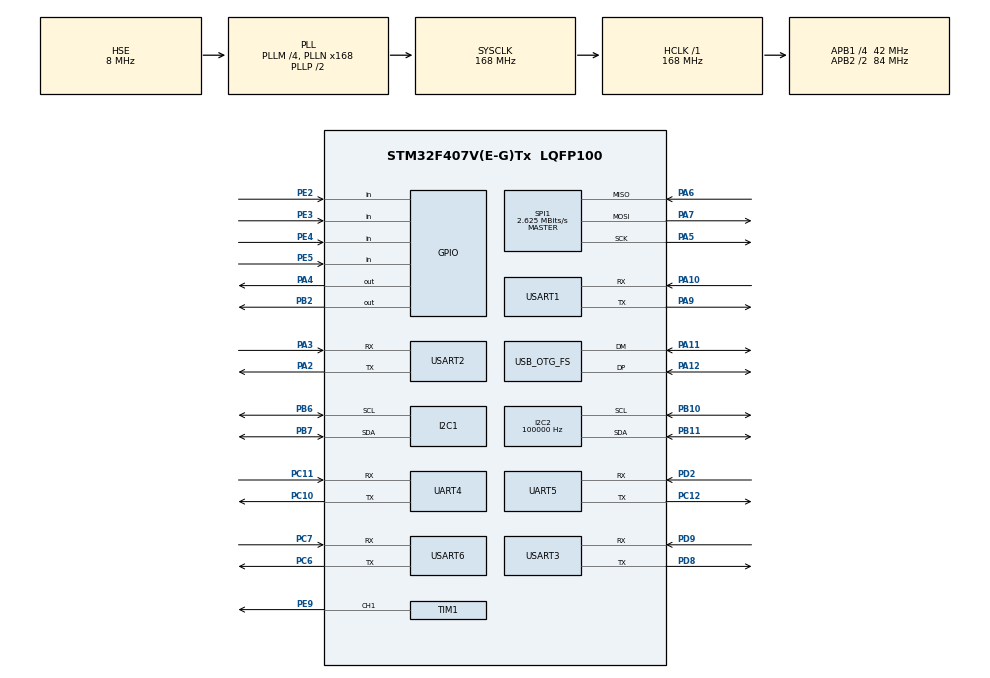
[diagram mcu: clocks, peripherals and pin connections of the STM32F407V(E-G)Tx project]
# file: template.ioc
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Dma.Request0=UART5_RX
Dma.Request1=UART5_TX
Dma.Request2=USART3_TX
Dma.Request3=USART1_RX
Dma.Request4=USART1_TX
Dma.UART5_RX.0.Direction=DMA_PERIPH_TO_MEMORY
Dma.UART5_RX.0.FIFOMode=DMA_FIFOMODE_DISABLE
Dma.UART5_RX.0.Instance=DMA1_Stream0
Dma.UART5_RX.0.MemDataAlignment=DMA_MDATAALIGN_BYTE
Dma.UART5_RX.0.MemInc=DMA_MINC_ENABLE
Dma.UART5_RX.0.Mode=DMA_CIRCULAR
Dma.UART5_RX.0.PeriphDataAlignment=DMA_PDATAALIGN_BYTE
Dma.UART5_RX.0.PeriphInc=DMA_PINC_DISABLE
Dma.UART5_RX.0.Priority=DMA_PRIORITY_HIGH
Dma.UART5_TX.1.Direction=DMA_MEMORY_TO_PERIPH
Dma.UART5_TX.1.FIFOMode=DMA_FIFOMODE_DISABLE
Dma.UART5_TX.1.Instance=DMA1_Stream7
Dma.UART5_TX.1.MemDataAlignment=DMA_MDATAALIGN_BYTE
Dma.UART5_TX.1.MemInc=DMA_MINC_ENABLE
Dma.UART5_TX.1.Mode=DMA_NORMAL
Dma.UART5_TX.1.PeriphDataAlignment=DMA_PDATAALIGN_BYTE
Dma.UART5_TX.1.PeriphInc=DMA_PINC_DISABLE
Dma.UART5_TX.1.Priority=DMA_PRIORITY_MEDIUM
Dma.USART1_RX.3.Direction=DMA_PERIPH_TO_MEMORY
Dma.USART1_RX.3.FIFOMode=DMA_FIFOMODE_DISABLE
Dma.USART1_RX.3.Instance=DMA2_Stream2
Dma.USART1_RX.3.MemDataAlignment=DMA_MDATAALIGN_BYTE
Dma.USART1_RX.3.MemInc=DMA_MINC_ENABLE
Dma.USART1_RX.3.Mode=DMA_CIRCULAR
Dma.USART1_RX.3.PeriphDataAlignment=DMA_PDATAALIGN_BYTE
Dma.USART1_RX.3.PeriphInc=DMA_PINC_DISABLE
Dma.USART1_RX.3.Priority=DMA_PRIORITY_HIGH
Dma.USART1_TX.4.Direction=DMA_MEMORY_TO_PERIPH
Dma.USART1_TX.4.FIFOMode=DMA_FIFOMODE_DISABLE
Dma.USART1_TX.4.Instance=DMA2_Stream7
Dma.USART1_TX.4.MemDataAlignment=DMA_MDATAALIGN_BYTE
Dma.USART1_TX.4.MemInc=DMA_MINC_ENABLE
Dma.USART1_TX.4.Mode=DMA_NORMAL
Dma.USART1_TX.4.PeriphDataAlignment=DMA_PDATAALIGN_BYTE
Dma.USART1_TX.4.PeriphInc=DMA_PINC_DISABLE
Dma.USART1_TX.4.Priority=DMA_PRIORITY_LOW
Dma.USART3_TX.2.Direction=DMA_MEMORY_TO_PERIPH
Dma.USART3_TX.2.FIFOMode=DMA_FIFOMODE_DISABLE
Dma.USART3_TX.2.Instance=DMA1_Stream3
Dma.USART3_TX.2.MemDataAlignment=DMA_MDATAALIGN_BYTE
Dma.USART3_TX.2.MemInc=DMA_MINC_ENABLE
Dma.USART3_TX.2.Mode=DMA_NORMAL
Dma.USART3_TX.2.PeriphDataAlignment=DMA_PDATAALIGN_BYTE
Dma.USART3_TX.2.PeriphInc=DMA_PINC_DISABLE
Dma.USART3_TX.2.Priority=DMA_PRIORITY_LOW
I2C2.AddressingMode=I2C_ADDRESSINGMODE_7BIT
I2C2.ClockSpeed=100000
I2C2.DualAddressMode=I2C_DUALADDRESS_DISABLE
I2C2.GeneralCallMode=I2C_GENERALCALL_DISABLE
I2C2.NoStretchMode=I2C_NOSTRETCH_DISABLE
I2C2.OwnAddress1=0
Mcu.Family=STM32F4
Mcu.Name=STM32F407V(E-G)Tx
Mcu.Package=LQFP100
NVIC.DMA1_Stream0_IRQn=true\:1\:0\:true\:false\:true\:false\:true\:true
NVIC.DMA1_Stream3_IRQn=true\:5\:0\:true\:false\:true\:false\:true\:true
NVIC.DMA1_Stream7_IRQn=true\:1\:0\:true\:false\:true\:false\:true\:true
NVIC.DMA2_Stream2_IRQn=true\:2\:0\:true\:false\:true\:false\:true\:true
NVIC.DMA2_Stream7_IRQn=true\:2\:0\:true\:false\:true\:false\:true\:true
NVIC.OTG_FS_IRQn=true\:4\:0\:true\:false\:true\:false\:true\:true
NVIC.PriorityGroup=NVIC_PRIORITYGROUP_4
NVIC.UART4_IRQn=true\:3\:0\:true\:false\:true\:true\:true\:true
NVIC.UART5_IRQn=true\:1\:0\:true\:false\:true\:true\:true\:true
NVIC.USART1_IRQn=true\:2\:0\:false\:false\:true\:true\:true\:true
NVIC.USART3_IRQn=true\:5\:0\:true\:false\:true\:true\:true\:true
PA10.Mode=Asynchronous
PA10.Signal=USART1_RX
PA11.Mode=Device_Only
PA11.Signal=USB_OTG_FS_DM
PA12.Mode=Device_Only
PA12.Signal=USB_OTG_FS_DP
PA13.Mode=Serial_Wire
PA13.Signal=SYS_JTMS-SWDIO
PA14.Mode=Serial_Wire
PA14.Signal=SYS_JTCK-SWCLK
PA2.Mode=Asynchronous
PA2.Signal=USART2_TX
PA3.Mode=Asynchronous
PA3.Signal=USART2_RX
PA4.PinState=GPIO_PIN_SET
PA4.Signal=GPIO_Output
PA5.Mode=Full_Duplex_Master
PA5.Signal=SPI1_SCK
PA6.Mode=Full_Duplex_Master
PA6.Signal=SPI1_MISO
PA7.Mode=Full_Duplex_Master
PA7.Signal=SPI1_MOSI
PA9.Mode=Asynchronous
PA9.Signal=USART1_TX
PB10.GPIO_Pu=GPIO_PULLUP
PB10.Mode=I2C
PB10.Signal=I2C2_SCL
PB11.GPIO_Pu=GPIO_PULLUP
PB11.Mode=I2C
PB11.Signal=I2C2_SDA
PB2.GPIO_PuPd=GPIO_PULLDOWN
PB2.PinState=GPIO_PIN_SET
PB2.Signal=GPIO_Output
PB6.Mode=I2C
PB6.Signal=I2C1_SCL
PB7.Mode=I2C
PB7.Signal=I2C1_SDA
PB8.Signal=CAN1_RX
PB9.Signal=CAN1_TX
PC10.Mode=Asynchronous
PC10.Signal=UART4_TX
PC11.Mode=Asynchronous
PC11.Signal=UART4_RX
PC12.Mode=Asynchronous
PC12.Signal=UART5_TX
PC6.Mode=Asynchronous
PC6.Signal=USART6_TX
PC7.Mode=Asynchronous
PC7.Signal=USART6_RX
PD2.Mode=Asynchronous
PD2.Signal=UART5_RX
PD8.Mode=Asynchronous
PD8.Signal=USART3_TX
PD9.Mode=Asynchronous
PD9.Signal=USART3_RX
PE2.Signal=GPIO_Input
PE3.Signal=GPIO_Input
PE4.Signal=GPIO_Input
PE5.Signal=GPIO_Input
PE9.Signal=S_TIM1_CH1
PH0-OSC_IN.Mode=HSE-External-Oscillator
PH0-OSC_IN.Signal=RCC_OSC_IN
PH1-OSC_OUT.Mode=HSE-External-Oscillator
PH1-OSC_OUT.Signal=RCC_OSC_OUT
ProjectManager.HeapSize=0x200
ProjectManager.StackSize=0x1000
ProjectManager.TargetToolchain=MDK-ARM V5.32
RCC.48MHZClocksFreq_Value=48000000
RCC.AHBFreq_Value=168000000
RCC.APB1CLKDivider=RCC_HCLK_DIV4
RCC.APB1Freq_Value=42000000
RCC.APB1TimFreq_Value=84000000
RCC.APB2CLKDivider=RCC_HCLK_DIV2
RCC.APB2Freq_Value=84000000
RCC.APB2TimFreq_Value=168000000
RCC.CortexFreq_Value=168000000
RCC.HCLKFreq_Value=168000000
RCC.HSE_VALUE=8000000
RCC.HSI_VALUE=16000000
RCC.LSE_VALUE=32768
RCC.PLLM=4
RCC.PLLN=168
RCC.PLLQ=7
RCC.SYSCLKFreq_VALUE=168000000
RCC.SYSCLKSource=RCC_SYSCLKSOURCE_PLLCLK
RCC.VCOOutputFreq_Value=336000000
SH.S_TIM1_CH1.0=TIM1_CH1,PWM Generation1 CH1
SPI1.BaudRatePrescaler=SPI_BAUDRATEPRESCALER_32
SPI1.CLKPhase=SPI_PHASE_2EDGE
SPI1.CLKPolarity=SPI_POLARITY_HIGH
SPI1.CalculateBaudRate=2.625 MBits/s
SPI1.Direction=SPI_DIRECTION_2LINES
SPI1.Mode=SPI_MODE_MASTER
SPI1.VirtualType=VM_MASTER
TIM1.Channel-PWM\ Generation1\ CH1=TIM_CHANNEL_1
TIM1.Period=19999
TIM1.Prescaler=167
UART4.VirtualMode=Asynchronous
UART5.VirtualMode=Asynchronous
USART1.VirtualMode=VM_ASYNC
USART2.VirtualMode=VM_ASYNC
USART3.VirtualMode=VM_ASYNC
USART6.VirtualMode=VM_ASYNC
USB_DEVICE.CLASS_NAME_FS=CDC
USB_DEVICE.VirtualMode-CDC_FS=Cdc
USB_DEVICE.VirtualModeFS=Cdc_FS
USB_OTG_FS.VirtualMode=Device_Only
USB_OTG_FS.vbus_sensing_enable=DISABLE
VP_USB_DEVICE_VS_USB_DEVICE_CDC_FS.Mode=CDC_FS
board=custom

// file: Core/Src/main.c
/* USER CODE BEGIN Header */
/**
  ******************************************************************************
  * @file           : main.c
  * @brief          : Main program body
  *
  * @par 二维码模块、Orange Pi和OLED接线
  * - OLED SCL  -> PB6（I2C1_SCL，100 kHz）
  * - OLED SDA  -> PB7（I2C1_SDA，设备7位地址默认0x3C）
  * - STM32 PC10（UART4_TX）连接二维码模块RX
  * - STM32 PC11（UART4_RX）连接二维码模块TX
  * - STM32 PA11/PA12：原生USB CDC连接香橙派
  * - HWT101 SCL/SDA：PB10/PB11，I2C2；串口屏：PD8/PD9
  * - OLED、串口模块和STM32必须共地，串口信号电平必须为3.3 V
  ******************************************************************************
  * @attention
  *
  * Copyright (c) 2026 STMicroelectronics.
  * All rights reserved.
  *
  * This software is licensed under terms that can be found in the LICENSE file
  * in the root directory of this software component.
  * If no LICENSE file comes with this software, it is provided AS-IS.
  *
  ******************************************************************************
  */
/* USER CODE END Header */
#include "main.h"
#include "dma.h"
#include "i2c.h"
#include "spi.h"
#include "tim.h"
#include "usart.h"
#include "usb_device.h"
#include "gpio.h"

/* USER CODE BEGIN Includes */

#include "Camera.h"
#include "QR.h"
#include "ArmVision.h"
#include "MaterialVision.h"
#include "Steer.h"
#include "arm_console.h"
#include "contest_screen.h"
#include "hwt101_i2c.h"
#include "hwt101_calibration.h"
#include "key.h"
#include "mechanical_arm.h"
#include "mecanum_chassis.h"
#include "oled_ui.h"
#include "tjc_screen.h"
#include "usbd_cdc_if.h"
#include "w25q128.h"
#include "motor_bus.h"
#include "console_tx.h"
#include "console_rx.h"
#include "chassis_motion.h"
#include "chassis_localization.h"
#include "chassis_route.h"
#include "chassis_telemetry.h"

#include <stdio.h>
#include <string.h>

/* USER CODE END Includes */

/* USER CODE BEGIN PD */
#define HWT101_UPLOAD_INTERVAL_MS 200U
#define CONSOLE_UPLOAD_TIMEOUT_MS 100U

/* USER CODE END PD */

/* USER CODE BEGIN PV */

static uint8_t QR_RxByte;

static char QR_TaskCode[QR_TASK_CODE_BUFFER_SIZE];
static uint8_t Camera_ColorTaskReady;
static uint8_t Camera_ColorDigitIndex;
static HWT101_Angle_t HWT101_CurrentAngle;
static uint8_t HWT101_AngleValid;
static uint32_t HWT101_UploadLastTick;
static uint32_t HWT101_ProgressLastTick;
static uint32_t HWT101_UploadRunId, HWT101_UploadFinalRunId;
static HWT101_CalState_t HWT101_UploadFinalState;

/* USER CODE END PV */

void SystemClock_Config(void);

/* USER CODE BEGIN 0 */

/** 启动时先读三次 JEDEC ID，再读三次设备 ID，失败也继续启动。 */
static void W25Q128_StartupCheck(void)
{
  uint8_t Id[3] = {0};
  uint8_t Index;
  uint8_t Command;
  uint8_t Try;
  uint8_t Invalid;
  char Text[96];
  const char *StatusText;
  const char *Prefix;
  int32_t Length;
  HAL_StatusTypeDef Status;

  for (Index = 0U; Index < 6U; Index++)
  {
    /* 首次读取保持原来的启动条件，仅在相邻交易之间等待。 */
    if (Index > 0U)
    {
      HAL_Delay(10U);
    }
    Try = (uint8_t)(Index % 3U + 1U);
    Prefix = (Index == 0U) ? "\r\n" : "";
    if (Index < 3U)
    {
      Command = 0x9FU;
      Status = W25Q128_ReadJedecId(&hspi1, Id);
    }
    else
    {
      Command = 0x90U;
      Status = W25Q128_ReadDeviceId(&hspi1, Id);
    }

    if (Status != HAL_OK)
    {
      switch (Status)
      {
        case HAL_ERROR: StatusText = "ERROR"; break;
        case HAL_BUSY: StatusText = "BUSY"; break;
        case HAL_TIMEOUT: StatusText = "TIMEOUT"; break;
        default: StatusText = "UNKNOWN"; break;
      }
      /* 失败时不打印保留在 Id 中的上次结果。 */
      Length = snprintf(Text, sizeof(Text), "%s[FLASH] cmd=%02X try=%u HAL=%s\r\n",
                        Prefix, (unsigned)Command, (unsigned)Try, StatusText);
    }
    else
    {
      Invalid = ((Id[0] == 0U) && (Id[1] == 0U) &&
                 ((Command == 0x90U) || (Id[2] == 0U))) ||
                ((Id[0] == 0xFFU) && (Id[1] == 0xFFU) &&
                 ((Command == 0x90U) || (Id[2] == 0xFFU)));
      if (Command == 0x9FU)
      {
        Length = snprintf(Text, sizeof(Text),
                          "%s[FLASH] cmd=9F try=%u HAL=OK ID=%02X %02X %02X%s\r\n",
                          Prefix, (unsigned)Try, (unsigned)Id[0], (unsigned)Id[1],
                          (unsigned)Id[2], Invalid ? " INVALID" : "");
      }
      else
      {
        Length = snprintf(Text, sizeof(Text),
                          "%s[FLASH] cmd=90 try=%u HAL=OK ID=%02X %02X%s\r\n",
                          Prefix, (unsigned)Try, (unsigned)Id[0], (unsigned)Id[1],
                          Invalid ? " INVALID" : "");
      }
    }

    if ((Length > 0) && (Length < (int32_t)sizeof(Text)))
    {
      (void)ConsoleTx_Write((uint8_t *)Text, (uint16_t)Length);
    }
  }

  (void)ConsoleTx_Write((uint8_t *)"arm> ", 5U);
}

/**
  * 函    数：读取任务码第二组中当前选择的数字字符
  * 参    数：无
  * 返 回 值：第二组任务码中当前选中的数字字符
  * 说    明：第二组起始下标为4，选择索引范围为0至2
  */
static char Camera_ColorTaskDigitGet(void)
{
  return QR_TaskCode[4U + Camera_ColorDigitIndex];
}

/**
  * 函    数：将任务码ASCII数字转换为摄像头颜色编号
  * 参    数：TaskCodeDigit 任务码中的数字字符
  * 返 回 值：对应的颜色枚举；0表示字符不在1~6
  * 说    明：先将ASCII字符转换为颜色编号1~6
  */
static Camera_ColorTypeDef Camera_ColorCodeGet(char TaskCodeDigit)
{
  uint8_t ColorNumber;

  if ((TaskCodeDigit < '1') || (TaskCodeDigit > '6'))
  {
    return (Camera_ColorTypeDef)0;
  }

  ColorNumber = (uint8_t)(TaskCodeDigit - '0');
  return (Camera_ColorTypeDef)ColorNumber;
}

/* IMU_TIMING_BEGIN: 主循环分段计时；仅保存数值，失败前不发送日志。 */
typedef enum
{
  IMU_TIME_CAMERA, IMU_TIME_MOTOR, IMU_TIME_ARM_VISION, IMU_TIME_MATERIAL,
  IMU_TIME_CHASSIS, IMU_TIME_READ, IMU_TIME_CAL, IMU_TIME_LOG,
  IMU_TIME_CONSOLE, IMU_TIME_SCREEN, IMU_TIME_QR_KEYS, IMU_TIME_OLED,
  IMU_TIME_COUNT
} ImuTimingStage_t;

static struct
{
  uint32_t current[IMU_TIME_COUNT], previous[IMU_TIME_COUNT], maximum[IMU_TIME_COUNT];
  uint32_t start_tick, mark_tick, previous_loop_ms, max_loop_ms;
  uint32_t failure_partial_ms;
  uint8_t active, frozen;
} ImuTiming;
static uint32_t ImuTiming_LastRunId;

static void ImuTiming_Begin(void)
{
  HWT101_CalStatus_t Cal;
  if (!HWT101_Cal_GetStatus(&Cal)) return;
  if (Cal.run_id != ImuTiming_LastRunId)
    memset(&ImuTiming, 0, sizeof(ImuTiming));
  ImuTiming_LastRunId = Cal.run_id;
  ImuTiming.active = !ImuTiming.frozen && (Cal.busy || Cal.control_ready);
  if (!ImuTiming.active) return;
  memset(ImuTiming.current, 0, sizeof(ImuTiming.current));
  ImuTiming.start_tick = ImuTiming.mark_tick = HAL_GetTick();
}

static void ImuTiming_Mark(ImuTimingStage_t Stage)
{
  uint32_t Now, Elapsed;
  if (!ImuTiming.active) return;
  Now = HAL_GetTick();
  Elapsed = (uint32_t)(Now - ImuTiming.mark_tick);
  ImuTiming.current[Stage] = Elapsed;
  if (Elapsed > ImuTiming.maximum[Stage]) ImuTiming.maximum[Stage] = Elapsed;
  ImuTiming.mark_tick = Now;
}

static void ImuTiming_End(void)
{
  if (!ImuTiming.active) return;
  ImuTiming.previous_loop_ms = (uint32_t)(HAL_GetTick() - ImuTiming.start_tick);
  if (ImuTiming.previous_loop_ms > ImuTiming.max_loop_ms)
    ImuTiming.max_loop_ms = ImuTiming.previous_loop_ms;
  memcpy(ImuTiming.previous, ImuTiming.current, sizeof(ImuTiming.previous));
}

static void ImuTiming_Freeze(void)
{
  if (!ImuTiming.frozen)
    ImuTiming.failure_partial_ms = ImuTiming.active ? (uint32_t)(HAL_GetTick() - ImuTiming.start_tick) : 0U;
  ImuTiming.active = 0U;
  ImuTiming.frozen = 1U;
}

static void ImuTiming_Report(const HWT101_CalStatus_t *Cal)
{
  static const char *const Names[IMU_TIME_COUNT] = {
    "camera", "motor_events", "arm_vision", "material", "chassis", "imu_read",
    "imu_cal", "imu_log", "console", "screen", "qr_keys", "oled"
  };
  char Text[192];
  int Length;
  unsigned Stage;
  /* 先冻结，故障日志与异步恢复不覆盖首次失败现场。 */
  ImuTiming_Freeze();
  Length = snprintf(Text, sizeof(Text),
      "\r\n[IMU DIAG] gap_ms=%lu max_gap_ms=%lu limit_ms=%lu "
      "loop_prev_ms=%lu loop_max_ms=%lu loop_partial_ms=%lu\r\n",
      (unsigned long)Cal->gap_ms, (unsigned long)Cal->max_gap_ms,
      (unsigned long)HWT101_DATA_FRESH_MS, (unsigned long)ImuTiming.previous_loop_ms,
      (unsigned long)ImuTiming.max_loop_ms, (unsigned long)ImuTiming.failure_partial_ms);
  if ((Length > 0) && (Length < (int)sizeof(Text)))
    (void)ConsoleTx_Write((uint8_t *)Text, (uint16_t)Length);
  for (Stage = 0U; Stage < IMU_TIME_COUNT; Stage++)
  {
    Length = snprintf(Text, sizeof(Text),
        "[IMU TIME] stage=%s prev_ms=%lu current_ms=%lu max_ms=%lu\r\n", Names[Stage],
        (unsigned long)ImuTiming.previous[Stage], (unsigned long)ImuTiming.current[Stage],
        (unsigned long)ImuTiming.maximum[Stage]);
    if ((Length > 0) && (Length < (int)sizeof(Text)))
      (void)ConsoleTx_Write((uint8_t *)Text, (uint16_t)Length);
  }
}
/* IMU_TIMING_END */

/**
  * 函    数：通过USART1上传HWT101最新角度
  * 参    数：无
  * 返 回 值：无
  * 说    明：默认只报告标定进度和结果；stream开启时每200ms更新最新角度槽，发送层每路至少间隔500ms。
  */
static void HWT101_Upload_Process(void)
{
  char UploadText[320];
  int UploadLength;
  uint32_t CurrentTick = HAL_GetTick();
  uint8_t Fresh;
  HWT101_Status_t Comm = {0};
  HWT101_CalStatus_t Cal;
  bool Terminal;

  if (!HWT101_Cal_GetStatus(&Cal)) return;
  (void)HWT101_Status_Get(&Comm);
  if (Cal.run_id != HWT101_UploadRunId)
  {
    HWT101_UploadRunId = Cal.run_id;
    HWT101_ProgressLastTick = CurrentTick;
  }
  if (Cal.state == HWT101_CAL_RESTORING && strcmp(Cal.reason, "none") && strcmp(Cal.reason, "cancelled"))
    ImuTiming_Freeze();
  Terminal = !Cal.busy && ((Cal.state == HWT101_CAL_DONE) ||
             (Cal.state == HWT101_CAL_FAILED) || (Cal.state == HWT101_CAL_CANCELLED));
  if (Terminal &&
      ((Cal.run_id != HWT101_UploadFinalRunId) || (Cal.state != HWT101_UploadFinalState)))
  {
    HWT101_UploadFinalRunId = Cal.run_id;
    HWT101_UploadFinalState = Cal.state;
    if (!strcmp(Cal.result, "ZERO_SAMPLE"))
    {
      UploadLength = snprintf(UploadText, sizeof(UploadText),
          "\r\nOK imu zero sample before_deg=%.3f after_deg=%.3f verified=0 control_ready=0\r\narm> ",
          (double)Cal.zero_before_deg, (double)Cal.zero_after_deg);
      if ((UploadLength > 0) && (UploadLength < (int)sizeof(UploadText)))
        (void)ConsoleTx_Write((uint8_t *)UploadText, (uint16_t)UploadLength);
      return;
    }
    if (Cal.state == HWT101_CAL_FAILED) ImuTiming_Report(&Cal);
    UploadLength = snprintf(UploadText, sizeof(UploadText),
        "\r\n[IMU CAL] result=%s state=%s reason=%s HAL=%u run_id=%lu verified=%u control_ready=%u\r\n",
        Cal.result, Cal.state_name, Cal.reason, (unsigned)Cal.hal,
        (unsigned long)Cal.run_id, (unsigned)Cal.verified, (unsigned)Cal.control_ready);
    if ((UploadLength > 0) && (UploadLength < (int)sizeof(UploadText)))
      (void)ConsoleTx_Write((uint8_t *)UploadText, (uint16_t)UploadLength);
    UploadLength = snprintf(UploadText, sizeof(UploadText),
        "[IMU SAVE] save_state=%s save_requested=%u save_readback_ok=%u persistent=UNTESTED "
        "normal_mode=%u bias_before=0x%04X bias_after=0x%04X bias_after_valid=%u\r\n",
        Cal.save_state, (unsigned)Cal.save_requested, (unsigned)Cal.save_readback_ok,
        (unsigned)Cal.normal_mode_confirmed, (unsigned)Cal.bias_before,
        (unsigned)Cal.bias_after, (unsigned)Cal.bias_after_valid);
    if ((UploadLength > 0) && (UploadLength < (int)sizeof(UploadText)))
      (void)ConsoleTx_Write((uint8_t *)UploadText, (uint16_t)UploadLength);
    UploadLength = snprintf(UploadText, sizeof(UploadText),
        "[IMU VERIFY] samples=%lu drift_dps=%.5f rms_deg=%.4f gap_ms=%lu max_gap_ms=%lu "
        "i2c_errors=%lu elapsed_ms=%lu relative_deg=%.3f verify_elapsed_ms=%lu\r\narm> ",
        (unsigned long)Cal.samples, (double)Cal.drift_dps, (double)Cal.rms_deg,
        (unsigned long)Cal.gap_ms, (unsigned long)Cal.max_gap_ms,
        (unsigned long)Cal.i2c_errors, (unsigned long)Cal.elapsed_ms,
        (double)Cal.relative_deg, (unsigned long)Cal.verify_elapsed_ms);
    if ((UploadLength > 0) && (UploadLength < (int)sizeof(UploadText)))
      (void)ConsoleTx_Write((uint8_t *)UploadText, (uint16_t)UploadLength);
  }
  if (Cal.busy && ((uint32_t)(CurrentTick - HWT101_ProgressLastTick) >= 5000U))
  {
    HWT101_ProgressLastTick = CurrentTick;
    UploadLength = snprintf(UploadText, sizeof(UploadText),
        "\r\n[IMU CAL] state=%s elapsed_s=%lu total_s=%lu verify_elapsed_s=%lu keep_still=1\r\n",
        Cal.state_name, (unsigned long)(Cal.elapsed_ms / 1000U), (unsigned long)(Cal.total_ms / 1000U),
        (unsigned long)(Cal.verify_elapsed_ms / 1000U));
    if ((UploadLength > 0) && (UploadLength < (int)sizeof(UploadText)))
      (void)ConsoleTx_Write((uint8_t *)UploadText, (uint16_t)UploadLength);
  }
  /* Busy calibration suppresses telemetry; sampling continues independently. */
  if (Cal.busy || ArmConsole_ImuStreamEnabled() == 0U) return;
  if (HWT101_Angle_Get(&HWT101_CurrentAngle)) HWT101_AngleValid = 1U;
  if ((uint32_t)(CurrentTick - HWT101_UploadLastTick) < HWT101_UPLOAD_INTERVAL_MS) return;
  Fresh = (HWT101_AngleValid != 0U) &&
          HWT101_Angle_Is_Fresh(&HWT101_CurrentAngle, HWT101_DATA_FRESH_MS);
  if (HWT101_AngleValid == 0U)
    UploadLength = snprintf(UploadText, sizeof(UploadText),
        "HWT101 yaw_deg=NA t_ms=%lu fresh=0 cal_state=%s i2c_errors=%lu\r\n",
        (unsigned long)CurrentTick, Cal.state_name, (unsigned long)Comm.i2c_error_count);
  else
    UploadLength = snprintf(UploadText, sizeof(UploadText),
        "HWT101 yaw_deg=%.2f count=%lu t_ms=%lu age_ms=%lu fresh=%u cal_state=%s i2c_errors=%lu\r\n",
        (double)HWT101_CurrentAngle.yaw, (unsigned long)HWT101_CurrentAngle.update_count,
        (unsigned long)CurrentTick, (unsigned long)(CurrentTick - HWT101_CurrentAngle.last_update_ms),
        (unsigned)Fresh, Cal.state_name, (unsigned long)Comm.i2c_error_count);
  if ((UploadLength > 0) && (UploadLength < (int)sizeof(UploadText)))
  {
    (void)ConsoleTx_Debug(CONSOLE_DEBUG_IMU, UploadText, (uint16_t)UploadLength);
    HWT101_UploadLastTick = CurrentTick;
  }
}

/** 按当前选中颜色启动机械臂对准；拒绝原因交给显示模块保留。 */
static void ArmVision_ColorAlignStart(void)
{
  Camera_ColorTypeDef Color;
  Mecanum_HeadingTestStatus_t Heading;

  if (HWT101_Cal_IsBusy())
  {
    OledUi_NoticeSet("IMU busy");
    return;
  }
  Mecanum_HeadingTest_StatusGet(&Heading);
  if (Heading.active)
  {
    OledUi_NoticeSet("Heading test busy");
    return;
  }

  if (Camera_ColorTaskReady == 0U)
  {
    OledUi_NoticeSet("Code required");
    return;
  }
  if (ArmVision_IsBusy() || MaterialVision_IsBusy() || MechanicalArm_IsBusy())
  {
    OledUi_NoticeSet("Busy");
    return;
  }
  if (!ArmVision_IsReferenceValid())
  {
    OledUi_NoticeSet("Ref required");
    return;
  }
  if (!ArmVision_IsCalibrated())
  {
    OledUi_NoticeSet("Cal required");
    return;
  }
  Color = Camera_ColorCodeGet(Camera_ColorTaskDigitGet());
  switch (ArmVision_MaterialStart(Color, ARM_VISION_JOB_ALIGN_ONLY))
  {
    case ARM_VISION_RESULT_OK: OledUi_NoticeSet(NULL); break;
    case ARM_VISION_RESULT_BUSY: OledUi_NoticeSet("Busy"); break;
    case ARM_VISION_RESULT_NOT_READY: OledUi_NoticeSet("Ref/Cal required"); break;
    case ARM_VISION_RESULT_PARAM_ERROR: OledUi_NoticeSet("Color invalid"); break;
    default: OledUi_NoticeSet("Camera tx"); break;
  }
}

/* USER CODE END 0 */

int main(void)
{

  /* MCU Configuration--------------------------------------------------------*/

  /* Reset of all peripherals, Initializes the Flash interface and the Systick. */
  HAL_Init();

  /* Configure the system clock */
  SystemClock_Config();

  /* USER CODE BEGIN SysInit */
  (void)Camera_Init();

  /* USER CODE END SysInit */

  /* Initialize all configured peripherals */
  MX_GPIO_Init();
  MX_DMA_Init();
  MX_TIM1_Init();
  MX_UART4_Init();
  MX_USART1_UART_Init();
  MX_USART2_UART_Init();
  MX_USART3_UART_Init();
  MX_USART6_UART_Init();
  MX_UART5_Init();
  MX_I2C1_Init();
  MX_I2C2_Init();
  MX_USB_DEVICE_Init();
  MX_SPI1_Init();
  /* USER CODE BEGIN 2 */

  /* CS 仍为高电平时提前使能 SPI1，验证首次读取的使能时序。 */
  __HAL_SPI_ENABLE(&hspi1);

  /*
   * 优先启动USART1控制台。即使OLED或其他可选外设没有连接，
   * 上位机仍然能够看到启动信息并使用调试命令。
   */
  if (ArmConsole_Init(&huart1) != HAL_OK)
  {
    Error_Handler();
  }

  /* USART1循环DMA接收；HT/TC/IDLE均由HAL分发。 */
  if (ConsoleRx_Init(&huart1) != HAL_OK)
  {
    Error_Handler();
  }

  W25Q128_StartupCheck();

  /* OLED为可选显示设备，未连接时不阻止其他模块和控制台运行。 */
  OledUi_Init(&hi2c1);

  QR_Init();
  Key_Init();
  if (HAL_UART_Receive_IT(&huart4, &QR_RxByte, 1U) != HAL_OK)
  {
    Error_Handler();
  }

  /* PE9使用TIM1_CH1输出50Hz PWM；CCR为0时夹爪上电不会立即动作。 */
  if (Steer_Init(&htim1) != HAL_OK)
  {
    Error_Handler();
  }
  ArmVision_Init();
  MaterialVision_Init();

  /* HWT101使用I2C2；设备仍在启动时，由轮询稍后重新探测。 */
  (void)HWT101_Init(&hi2c2);
  HWT101_Cal_Init();
  HWT101_UploadRunId = HWT101_UploadFinalRunId = 0U;
  HWT101_UploadFinalState = HWT101_CAL_IDLE;
  HWT101_CurrentAngle.yaw = 0.0f;
  HWT101_CurrentAngle.update_count = 0U;
  HWT101_AngleValid = 0U;
  HWT101_UploadLastTick = HAL_GetTick() - HWT101_UPLOAD_INTERVAL_MS;

  /* 机械臂电机总线使用UART5，模块初始化内部会启动ReceiveToIdle DMA接收。 */
  if (MotorBus_Init(&huart5) != HAL_OK) Error_Handler();
  ChassisRoute_Init();
  ChassisMotion_Init();
  ChassisTelemetry_Init();
  if (MechanicalArm_Init(&huart5) != HAL_OK)
  {
    Error_Handler();
  }

  /* 比赛串口屏使用USART3 TX DMA，PD8连接屏幕RX，PD9连接屏幕TX。 */
  if (TJC_Init(&huart3) != HAL_OK)
  {
    Error_Handler();
  }
  ContestScreen_Init();
  HWT101_Cal_BootVerifyArm();

  /* USER CODE END 2 */

  /* Infinite loop */
  /* USER CODE BEGIN WHILE */
  while (1)
  {
    MechanicalArm_EventTypeDef MotorEvent;
    KeyEvent_t Key;
    /* USER CODE END WHILE */

    /* USER CODE BEGIN 3 */
    ImuTiming_Begin();
    ConsoleRx_Process();
    ArmConsole_StopProcess(); /* Ctrl+C cancels producers before they can submit motion. */
    ConsoleTx_Process();
    if (ArmConsole_ResetPending())
    {
      ArmConsole_Process(); /* Consume a queued stop before committing reset. */
      if (ArmConsole_ResetProcess()) continue;
    }
    MotorBus_Process();
    Camera_Process();
    ImuTiming_Mark(IMU_TIME_CAMERA);
    MechanicalArm_Process();
    if (MechanicalArm_ResultGet(&MotorEvent) != 0U)
    {
      if ((ArmVision_MotorEventHandle(&MotorEvent) == 0U) &&
          (MaterialVision_MotorEventHandle(&MotorEvent) == 0U))
      {
        ArmConsole_MotorEventHandle(&MotorEvent);
      }
    }
    ImuTiming_Mark(IMU_TIME_MOTOR);
    ArmVision_Process();
    ImuTiming_Mark(IMU_TIME_ARM_VISION);
    MaterialVision_Process();
    ImuTiming_Mark(IMU_TIME_MATERIAL);
    HWT101_Process(); /* 独立采集；关闭日志不会停止传感器轮询。 */
    ImuTiming_Mark(IMU_TIME_READ);
    HWT101_Cal_BootVerifyProcess(!Mecanum_IsBusy() && !MechanicalArm_IsBusy() &&
        !ArmVision_IsBusy() && !MaterialVision_IsBusy() &&
        !ChassisRoute_IsBusy() && !ChassisMotion_IsBusy());
    HWT101_Cal_Process();
    ImuTiming_Mark(IMU_TIME_CAL);
    ChassisMotion_HeadingProcess();
    ChassisLocalization_Process();
    ChassisMotion_Process();
    ChassisRoute_Process();
    Mecanum_Velocity_Process(); /* 航向控制使用本圈已检查的模块角度。 */
    ImuTiming_Mark(IMU_TIME_CHASSIS);
    ChassisTelemetry_Process();
    HWT101_Upload_Process();
    ImuTiming_Mark(IMU_TIME_LOG);
    ArmConsole_Process();
    if (ArmConsole_ResetPending()) continue;
    ImuTiming_Mark(IMU_TIME_CONSOLE);
    TJC_Process();
    if (!ChassisMotion_IsBusy() && !ChassisRoute_IsBusy()) ContestScreen_Process();
    ImuTiming_Mark(IMU_TIME_SCREEN);

    if (QR_TaskCodeGet(QR_TaskCode) == 1U)
    {
      (void)ContestScreen_TaskCodeSet(QR_TaskCode);
      (void)ContestScreen_ProgressSet(0U, 0U);
      Camera_ColorTaskReady = 1U;
      Camera_ColorDigitIndex = 0U;
      OledUi_TaskCodeSet(QR_TaskCode, Camera_ColorDigitIndex);
    }

    Key_Scan();
    Key = Key_Get_Press_Event(); /* 每圈只消费一次按键事件。 */
    if ((Key == KEY_EVENT_PE4 || Key == KEY_EVENT_PE5 ||
         (!ChassisMotion_IsBusy() && !ChassisRoute_IsBusy())) &&
        OledUi_KeyHandle(Key) == 0U)
    {
      switch (Key)
      {
        case KEY_EVENT_PE2:
          ArmVision_ColorAlignStart();
          break;

        case KEY_EVENT_PE3:
          if (Camera_ColorTaskReady && !ArmVision_IsBusy() &&
              !MaterialVision_IsBusy() && !MechanicalArm_IsBusy())
          {
            Camera_ColorDigitIndex = (uint8_t)((Camera_ColorDigitIndex + 1U) % 3U);
            OledUi_TaskCodeSet(QR_TaskCode, Camera_ColorDigitIndex);
          }
          break;

        default:
          break;
      }
    }
    ImuTiming_Mark(IMU_TIME_QR_KEYS);
    if (!HWT101_Cal_IsBusy() && !ChassisMotion_IsBusy() && !ChassisRoute_IsBusy()) OledUi_Process(); /* 标定时暂停显示刷新，保留采样时间。 */
    ImuTiming_Mark(IMU_TIME_OLED);
    MotorBus_Process();
    ConsoleTx_Process();
    ImuTiming_End();
  }
  /* USER CODE END 3 */
}

void SystemClock_Config(void)
{
  RCC_OscInitTypeDef RCC_OscInitStruct = {0};
  RCC_ClkInitTypeDef RCC_ClkInitStruct = {0};

  /** Configure the main internal regulator output voltage
  */
  __HAL_RCC_PWR_CLK_ENABLE();
  __HAL_PWR_VOLTAGESCALING_CONFIG(PWR_REGULATOR_VOLTAGE_SCALE1);

  /** Initializes the RCC Oscillators according to the specified parameters
  * in the RCC_OscInitTypeDef structure.
  */
  RCC_OscInitStruct.OscillatorType = RCC_OSCILLATORTYPE_HSE;
  RCC_OscInitStruct.HSEState = RCC_HSE_ON;
  RCC_OscInitStruct.PLL.PLLState = RCC_PLL_ON;
  RCC_OscInitStruct.PLL.PLLSource = RCC_PLLSOURCE_HSE;
  RCC_OscInitStruct.PLL.PLLM = 4;
  RCC_OscInitStruct.PLL.PLLN = 168;
  RCC_OscInitStruct.PLL.PLLP = RCC_PLLP_DIV2;
  RCC_OscInitStruct.PLL.PLLQ = 7;
  if (HAL_RCC_OscConfig(&RCC_OscInitStruct) != HAL_OK)
  {
    Error_Handler();
  }

  /** Initializes the CPU, AHB and APB buses clocks
  */
  RCC_ClkInitStruct.ClockType = RCC_CLOCKTYPE_HCLK|RCC_CLOCKTYPE_SYSCLK
                              |RCC_CLOCKTYPE_PCLK1|RCC_CLOCKTYPE_PCLK2;
  RCC_ClkInitStruct.SYSCLKSource = RCC_SYSCLKSOURCE_PLLCLK;
  RCC_ClkInitStruct.AHBCLKDivider = RCC_SYSCLK_DIV1;
  RCC_ClkInitStruct.APB1CLKDivider = RCC_HCLK_DIV4;
  RCC_ClkInitStruct.APB2CLKDivider = RCC_HCLK_DIV2;

  if (HAL_RCC_ClockConfig(&RCC_ClkInitStruct, FLASH_LATENCY_5) != HAL_OK)
  {
    Error_Handler();
  }
}

/* USER CODE BEGIN 4 */

/**
  * @brief    分发HAL串口单字节接收完成事件
  * @param    huart ：触发回调的串口句柄
  * @retval   无
  */
void HAL_UART_RxCpltCallback(UART_HandleTypeDef *huart)
{
  TJC_Rx_Callback(huart);
  if (huart->Instance == UART4)
  {
    QR_ReceiveData(QR_RxByte);
    (void)HAL_UART_Receive_IT(&huart4, &QR_RxByte, 1U);
  }

}

/**
  * @brief    分发HAL串口DMA空闲接收事件
  * @param    huart ：触发回调的串口句柄
  * @param    Size  ：HAL提供的DMA写入位置（USART1读取实时NDTR防止重复事件）
  * @retval   无
  */
void HAL_UARTEx_RxEventCallback(UART_HandleTypeDef *huart, uint16_t Size)
{
  if (huart->Instance == UART5)
  {
    MotorBus_RxEventCallback(huart, Size);
  }
  else if (huart->Instance == USART1)
  {
    ConsoleRx_RxEventCallback(huart);
  }
}

/**
  * @brief    分发HAL串口DMA发送完成事件
  * @param    huart ：触发回调的串口句柄
  * @retval   无
  */
void HAL_UART_TxCpltCallback(UART_HandleTypeDef *huart)
{
  if (huart->Instance == UART5)
  {
    MotorBus_TxCpltCallback(huart);
  }
  else if (huart->Instance == USART1)
  {
    ConsoleTx_TxCpltCallback(huart);
  }
  else if (huart->Instance == USART3)
  {
    TJC_Tx_Callback(huart);
  }
}

/**
  * @brief    分发HAL串口通信错误事件
  * @param    huart ：触发回调的串口句柄
  * @retval   无
  */
void HAL_UART_ErrorCallback(UART_HandleTypeDef *huart)
{
  TJC_Error_Callback(huart);
  if (huart->Instance == USART1)
  {
    ConsoleRx_ErrorCallback(huart);
    /* RX overrun/framing errors do not cancel a healthy TX DMA. */
    if (huart->ErrorCode & HAL_UART_ERROR_DMA) ConsoleTx_ErrorCallback(huart);
  }
  else if (huart->Instance == UART4)
  {
    __HAL_UART_CLEAR_PEFLAG(huart);
    __HAL_UART_CLEAR_FEFLAG(huart);
    __HAL_UART_CLEAR_NEFLAG(huart);
    __HAL_UART_CLEAR_OREFLAG(huart);
    QR_ErrorCallback();
    (void)HAL_UART_Receive_IT(&huart4, &QR_RxByte, 1U);
  }

  else if (huart->Instance == UART5)
  {
    __HAL_UART_CLEAR_PEFLAG(huart);
    __HAL_UART_CLEAR_FEFLAG(huart);
    __HAL_UART_CLEAR_NEFLAG(huart);
    __HAL_UART_CLEAR_OREFLAG(huart);
    MotorBus_ErrorCallback(huart);
  }
}

/* USER CODE END 4 */

void Error_Handler(void)
{
  __disable_irq();
  while (1)
  {
  }
}
